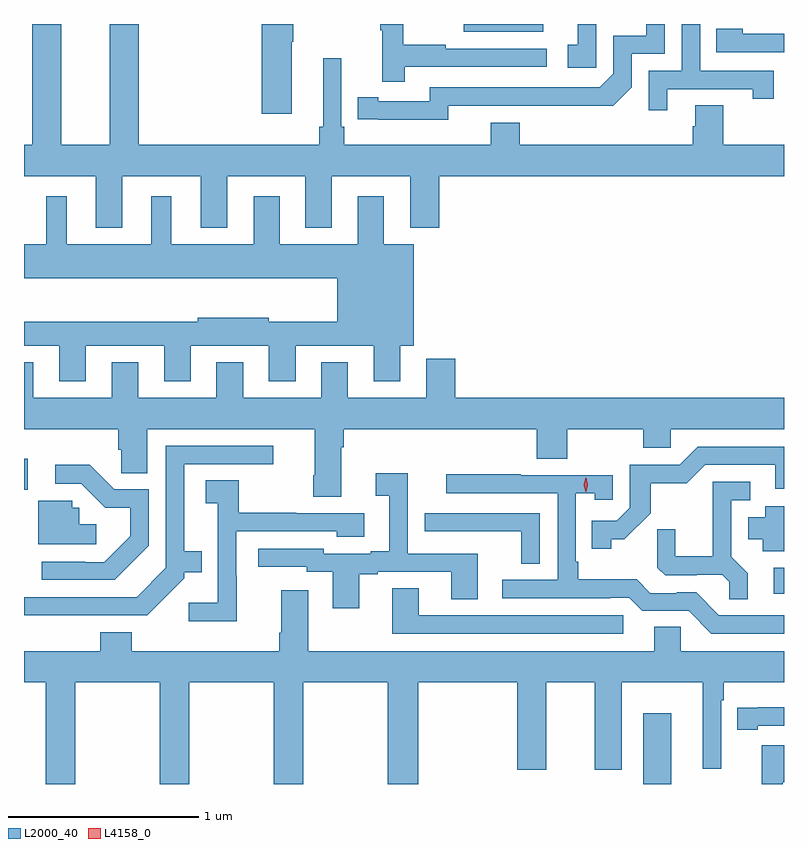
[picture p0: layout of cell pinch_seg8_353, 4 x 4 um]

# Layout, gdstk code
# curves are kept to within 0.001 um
import gdstk
lib = gdstk.Library(unit=1e-6, precision=1e-09)
def R(c, l, rs):  # rectangles x0, y0, x1, y1
    for r in rs: c.add(gdstk.rectangle(r[:2], r[2:], *l))
def P(c, l, *ps):  # polygons
    for p in ps: c.add(gdstk.Polygon(p, *l))
L2000_40 = (2000, 40)
L4158_0 = (4158, 0)

pinch_seg8_353 = lib.new_cell('pinch_seg8_353')
R(pinch_seg8_353, L2000_40, [(424.88,1121.292,425.026,1121.665), (425.565,1122.293,425.62,1122.429), (421.62,1122.842,421.639,1123.003), (423.935,1125.251,424.354,1125.292)])
P(pinch_seg8_353, L2000_40, [(423.623,1125.066),(424.372,1125.066),(424.372,1125.162),(423.839,1125.162),(423.839,1125.182),(423.616,1125.182),(423.616,1125.292),(423.495,1125.292),(423.495,1125.259),(423.506,1125.259),(423.506,1124.988),(423.623,1124.988)],
  [(424.632,1125.292),(424.535,1125.292),(424.535,1125.183),(424.482,1125.183),(424.482,1125.063),(424.632,1125.063)],
  [(423.028,1125.199),(423.036,1125.199),(423.036,1125.292),(422.87,1125.292),(422.87,1124.82),(423.028,1124.82)],
  [(423.852,1124.862),(424.72,1124.861),(424.818,1124.958),(424.818,1125.135),(424.992,1125.135),(424.992,1125.292),(424.895,1125.292),(424.895,1125.231),(424.722,1125.231),(424.722,1125.03),(424.65,1124.958),(423.756,1124.958),(423.756,1124.886),(423.484,1124.886),(423.484,1124.906),(423.376,1124.906),(423.376,1124.79),(423.852,1124.789)],
  [(425.005,1124.949),(425.456,1124.949),(425.456,1124.898),(425.567,1124.898),(425.567,1125.045),(425.178,1125.045),(425.178,1125.292),(425.082,1125.292),(425.082,1125.045),(424.908,1125.045),(424.908,1124.838),(425.005,1124.838)],
  [(422.137,1124.492),(422.549,1124.492),(422.549,1124.219),(422.689,1124.219),(422.689,1124.492),(423.101,1124.492),(423.101,1124.219),(423.241,1124.219),(423.241,1124.492),(423.653,1124.492),(423.653,1124.219),(423.806,1124.219),(423.806,1124.492),(425.62,1124.492),(425.62,1124.656),(425.301,1124.656),(425.301,1124.864),(425.153,1124.864),(425.153,1124.754),(425.141,1124.754),(425.141,1124.656),(424.229,1124.656),(424.229,1124.773),(424.076,1124.773),(424.076,1124.656),(423.305,1124.656),(423.305,1124.752),(423.291,1124.752),(423.291,1125.112),(423.194,1125.112),(423.194,1124.752),(423.175,1124.752),(423.175,1124.656),(422.225,1124.656),(422.225,1125.292),(422.072,1125.292),(422.072,1124.656),(421.816,1124.656),(421.816,1125.292),(421.664,1125.292),(421.664,1124.656),(421.62,1124.656),(421.62,1124.492),(421.997,1124.492),(421.997,1124.219),(422.137,1124.219)],
  [(425.62,1125.24),(425.403,1125.24),(425.403,1125.267),(425.263,1125.267),(425.263,1125.144),(425.62,1125.144)],
  [(421.945,1123.598),(422.357,1123.598),(422.357,1123.413),(422.497,1123.413),(422.497,1123.598),(422.909,1123.598),(422.909,1123.413),(423.049,1123.413),(423.049,1123.598),(423.461,1123.598),(423.461,1123.413),(423.601,1123.413),(423.601,1123.598),(423.67,1123.598),(423.67,1124.134),(423.514,1124.134),(423.514,1124.386),(423.377,1124.386),(423.377,1124.134),(422.965,1124.134),(422.965,1124.386),(422.828,1124.386),(422.828,1124.134),(422.395,1124.134),(422.395,1124.386),(422.291,1124.386),(422.291,1124.134),(421.846,1124.134),(421.846,1124.386),(421.736,1124.386),(421.736,1124.134),(421.62,1124.134),(421.62,1123.955),(423.269,1123.955),(423.269,1123.726),(422.907,1123.726),(422.907,1123.747),(422.535,1123.747),(422.535,1123.726),(421.62,1123.726),(421.62,1123.598),(421.805,1123.598),(421.805,1123.413),(421.945,1123.413)],
  [(423.289,1123.064),(423.302,1123.064),(423.302,1123.16),(424.319,1123.16),(424.319,1123.003),(424.479,1123.003),(424.479,1123.16),(424.879,1123.16),(424.879,1123.062),(425.025,1123.062),(425.025,1123.16),(425.62,1123.16),(425.62,1123.324),(423.89,1123.324),(423.89,1123.531),(423.737,1123.531),(423.737,1123.324),(423.325,1123.324),(423.325,1123.513),(423.185,1123.513),(423.185,1123.324),(422.773,1123.324),(422.773,1123.513),(422.633,1123.513),(422.633,1123.324),(422.221,1123.324),(422.221,1123.513),(422.081,1123.513),(422.081,1123.324),(421.669,1123.324),(421.669,1123.513),(421.62,1123.513),(421.62,1123.16),(422.117,1123.16),(422.117,1123.05),(422.131,1123.05),(422.131,1122.928),(422.269,1122.928),(422.269,1123.16),(423.149,1123.16),(423.149,1122.916),(423.142,1122.916),(423.142,1122.804),(423.289,1122.804)],
  [(421.937,1122.18),(422.268,1122.18),(422.463,1122.375),(422.463,1122.407),(422.555,1122.407),(422.555,1122.517),(422.464,1122.517),(422.464,1122.975),(422.932,1122.975),(422.932,1123.071),(422.367,1123.071),(422.367,1122.429),(422.214,1122.276),(421.62,1122.276),(421.62,1122.179)],
  [(424.71,1122.581),(424.78,1122.581),(424.918,1122.718),(424.918,1122.874),(425.107,1122.874),(425.205,1122.972),(425.573,1122.972),(425.573,1122.846),(425.62,1122.846),(425.62,1123.068),(425.166,1123.068),(425.07,1122.972),(424.809,1122.972),(424.809,1122.747),(424.74,1122.678),(424.609,1122.678),(424.609,1122.531),(424.71,1122.531)],
  [(422.277,1122.545),(422.277,1122.843),(422.094,1122.843),(421.966,1122.971),(421.785,1122.971),(421.785,1122.873),(421.92,1122.873),(422.047,1122.746),(422.18,1122.746),(422.18,1122.596),(422.043,1122.459),(421.943,1122.459),(421.943,1122.462),(421.713,1122.462),(421.713,1122.366),(422.098,1122.366)],
  [(423.385,1122.396),(423.481,1122.396),(423.481,1122.408),(423.869,1122.408),(423.869,1122.265),(424.009,1122.265),(424.009,1122.504),(423.639,1122.504),(423.639,1122.928),(423.471,1122.928),(423.471,1122.808),(423.542,1122.808),(423.542,1122.517),(423.446,1122.517),(423.446,1122.504),(423.198,1122.504),(423.198,1122.531),(422.853,1122.531),(422.853,1122.435),(423.108,1122.435),(423.108,1122.408),(423.245,1122.408),(423.245,1122.216),(423.385,1122.216)],
  [(425.62,1122.18),(425.277,1122.18),(425.157,1122.3),(425.056,1122.3),(425.056,1122.297),(424.917,1122.297),(424.844,1122.37),(424.537,1122.37),(424.537,1122.463),(424.524,1122.463),(424.524,1122.821),(424.623,1122.821),(424.623,1122.789),(424.719,1122.789),(424.719,1122.918),(424.235,1122.918),(424.235,1122.921),(423.843,1122.921),(423.843,1122.822),(424.428,1122.822),(424.428,1122.366),(424.137,1122.366),(424.137,1122.27),(424.706,1122.27),(424.706,1122.273),(424.806,1122.273),(424.875,1122.204),(425.118,1122.204),(425.238,1122.084),(425.62,1122.084)],
  [(422.739,1122.389),(422.736,1122.389),(422.736,1122.621),(423.267,1122.621),(423.267,1122.593),(423.412,1122.593),(423.412,1122.717),(423.053,1122.717),(423.053,1122.72),(422.749,1122.72),(422.749,1122.89),(422.577,1122.89),(422.577,1122.769),(422.64,1122.769),(422.64,1122.247),(422.487,1122.247),(422.487,1122.149),(422.739,1122.149)],
  [(425.429,1122.401),(425.343,1122.487),(425.343,1122.786),(425.443,1122.786),(425.443,1122.882),(425.246,1122.882),(425.246,1122.49),(425.048,1122.49),(425.048,1122.633),(424.954,1122.633),(424.954,1122.431),(424.995,1122.39),(425.16,1122.39),(425.16,1122.393),(425.294,1122.393),(425.331,1122.356),(425.331,1122.265),(425.429,1122.265)],
  [(421.999,1122.658),(421.911,1122.658),(421.911,1122.747),(421.875,1122.747),(421.875,1122.783),(421.694,1122.783),(421.694,1122.555),(421.999,1122.555)],
  [(425.62,1122.754),(425.522,1122.754),(425.522,1122.697),(425.432,1122.697),(425.432,1122.581),(425.507,1122.581),(425.507,1122.518),(425.62,1122.518)],
  [(424.335,1122.717),(423.729,1122.717),(423.729,1122.622),(423.841,1122.622),(423.841,1122.621),(424.237,1122.621),(424.237,1122.451),(424.335,1122.451)],
  [(424.774,1122.18),(423.697,1122.18),(423.697,1122.323),(423.557,1122.323),(423.557,1122.084),(424.774,1122.084)],
  [(421.89,1121.828),(422.335,1121.828),(422.335,1121.292),(422.49,1121.292),(422.49,1121.828),(422.935,1121.828),(422.935,1121.292),(423.09,1121.292),(423.09,1121.828),(423.535,1121.828),(423.535,1121.292),(423.695,1121.292),(423.695,1121.828),(424.217,1121.828),(424.217,1121.367),(424.369,1121.367),(424.369,1121.828),(424.625,1121.828),(424.625,1121.367),(424.765,1121.367),(424.765,1121.828),(425.192,1121.828),(425.192,1121.373),(425.289,1121.373),(425.289,1121.732),(425.303,1121.732),(425.303,1121.828),(425.62,1121.828),(425.62,1121.992),(425.076,1121.992),(425.076,1122.119),(424.937,1122.119),(424.937,1121.992),(423.115,1121.992),(423.115,1122.313),(422.975,1122.313),(422.975,1122.088),(422.963,1122.088),(422.963,1121.992),(422.186,1121.992),(422.186,1122.091),(422.021,1122.091),(422.021,1121.992),(421.62,1121.992),(421.62,1121.828),(421.735,1121.828),(421.735,1121.292),(421.89,1121.292)],
  [(425.482,1121.598),(425.62,1121.598),(425.62,1121.695),(425.482,1121.695),(425.482,1121.694),(425.374,1121.694),(425.374,1121.578),(425.482,1121.578)],
  [(425.614,1121.302),(425.62,1121.302),(425.62,1121.497),(425.504,1121.497),(425.504,1121.292),(425.614,1121.292)])
P(pinch_seg8_353, L4158_0, [(424.577,1122.83),(424.577,1122.831),(424.567,1122.867),(424.577,1122.903),(424.577,1122.903),(424.578,1122.903),(424.587,1122.867),(424.578,1122.831)])

lib.write_gds('pinch_seg8_353.gds')
